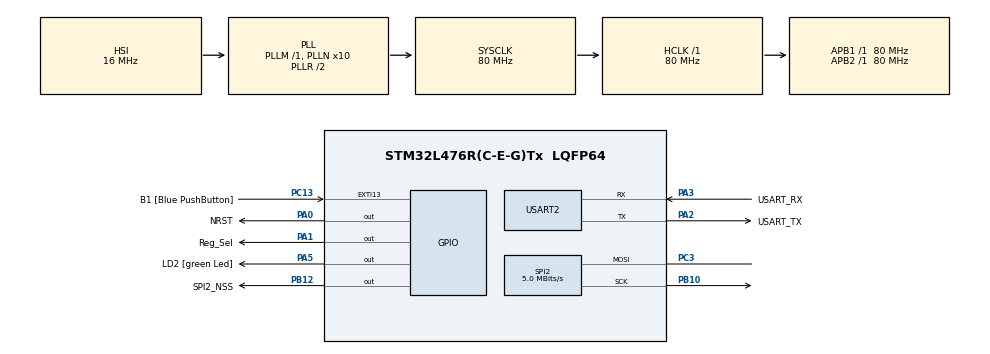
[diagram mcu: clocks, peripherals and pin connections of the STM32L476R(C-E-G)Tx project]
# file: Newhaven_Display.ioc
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Mcu.Family=STM32L4
Mcu.Name=STM32L476R(C-E-G)Tx
Mcu.Package=LQFP64
NVIC.PriorityGroup=NVIC_PRIORITYGROUP_4
PA0.GPIO_Label=NRST
PA0.GPIO_PuPd=GPIO_PULLUP
PA0.Signal=GPIO_Output
PA1.GPIO_Label=Reg_Sel
PA1.Signal=GPIO_Output
PA13\ (JTMS-SWDIO).GPIO_Label=TMS
PA13\ (JTMS-SWDIO).Mode=Serial_Wire
PA13\ (JTMS-SWDIO).Signal=SYS_JTMS-SWDIO
PA14\ (JTCK-SWCLK).GPIO_Label=TCK
PA14\ (JTCK-SWCLK).Mode=Serial_Wire
PA14\ (JTCK-SWCLK).Signal=SYS_JTCK-SWCLK
PA2.GPIO_Label=USART_TX
PA2.GPIO_Mode=GPIO_MODE_AF_PP
PA2.GPIO_PuPd=GPIO_NOPULL
PA2.GPIO_Speed=GPIO_SPEED_FREQ_VERY_HIGH
PA2.Mode=Asynchronous
PA2.Signal=USART2_TX
PA3.GPIO_Label=USART_RX
PA3.GPIO_Mode=GPIO_MODE_AF_PP
PA3.GPIO_PuPd=GPIO_NOPULL
PA3.GPIO_Speed=GPIO_SPEED_FREQ_VERY_HIGH
PA3.Mode=Asynchronous
PA3.Signal=USART2_RX
PA5.GPIO_Label=LD2 [green Led]
PA5.GPIO_ModeDefaultOutputPP=GPIO_MODE_OUTPUT_PP
PA5.GPIO_PuPd=GPIO_NOPULL
PA5.GPIO_Speed=GPIO_SPEED_FREQ_LOW
PA5.Signal=GPIO_Output
PB10.Mode=Simplex_Bidirectional_Master
PB10.Signal=SPI2_SCK
PB12.GPIO_Label=SPI2_NSS
PB12.GPIO_PuPd=GPIO_NOPULL
PB12.GPIO_Speed=GPIO_SPEED_FREQ_HIGH
PB12.Signal=GPIO_Output
PB3\ (JTDO-TRACESWO).GPIO_Label=SWO
PB3\ (JTDO-TRACESWO).Signal=SYS_JTDO-SWO
PC13.GPIO_Label=B1 [Blue PushButton]
PC13.GPIO_ModeDefaultEXTI=GPIO_MODE_IT_FALLING
PC13.GPIO_PuPd=GPIO_NOPULL
PC13.Signal=GPXTI13
PC14-OSC32_IN\ (PC14).Mode=LSE-External-Oscillator
PC14-OSC32_IN\ (PC14).Signal=RCC_OSC32_IN
PC15-OSC32_OUT\ (PC15).Mode=LSE-External-Oscillator
PC15-OSC32_OUT\ (PC15).Signal=RCC_OSC32_OUT
PC3.Mode=Simplex_Bidirectional_Master
PC3.Signal=SPI2_MOSI
PH0-OSC_IN\ (PH0).Signal=RCC_OSC_IN
PH1-OSC_OUT\ (PH1).Signal=RCC_OSC_OUT
ProjectManager.HeapSize=0x200
ProjectManager.StackSize=0x400
ProjectManager.TargetToolchain=STM32CubeIDE
RCC.ADCFreq_Value=64000000
RCC.AHBFreq_Value=80000000
RCC.APB1Freq_Value=80000000
RCC.APB1TimFreq_Value=80000000
RCC.APB2Freq_Value=80000000
RCC.APB2TimFreq_Value=80000000
RCC.CortexFreq_Value=80000000
RCC.HCLKFreq_Value=80000000
RCC.HSE_VALUE=8000000
RCC.HSI_VALUE=16000000
RCC.MSI_VALUE=4000000
RCC.PLLN=10
RCC.PLLSourceVirtual=RCC_PLLSOURCE_HSI
RCC.PREFETCH_ENABLE=1
RCC.SYSCLKFreq_VALUE=80000000
RCC.SYSCLKSource=RCC_SYSCLKSOURCE_PLLCLK
RCC.USBFreq_Value=64000000
RCC.VCOOutputFreq_Value=160000000
SPI2.BaudRatePrescaler=SPI_BAUDRATEPRESCALER_16
SPI2.CLKPhase=SPI_PHASE_2EDGE
SPI2.CLKPolarity=SPI_POLARITY_HIGH
SPI2.CalculateBaudRate=5.0 MBits/s
SPI2.DataSize=SPI_DATASIZE_8BIT
SPI2.Direction=SPI_DIRECTION_1LINE
SPI2.Mode=SPI_MODE_MASTER
SPI2.VirtualType=VM_MASTER
USART2.VirtualMode-Asynchronous=VM_ASYNC
board=NUCLEO-L476RG

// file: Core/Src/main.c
/* USER CODE BEGIN Header */
/**
  ******************************************************************************
  * @file           : main.c
  * @brief          : Main program body
  ******************************************************************************
  * @attention
  *
  * Copyright (c) 2024 STMicroelectronics.
  * All rights reserved.
  *
  * This software is licensed under terms that can be found in the LICENSE file
  * in the root directory of this software component.
  * If no LICENSE file comes with this software, it is provided AS-IS.
  *
  ******************************************************************************
  */
/* USER CODE END Header */
#include "main.h"
#include "image.h"

SPI_HandleTypeDef hspi2;

UART_HandleTypeDef huart2;

void SystemClock_Config(void);
static void MX_GPIO_Init(void);
static void MX_USART2_UART_Init(void);
static void MX_SPI2_Init(void);
/* USER CODE BEGIN PFP */
void init_LCD();
void ClearLCD(uint8_t *lcd_string);
void data_write(uint8_t);
void comm_write(uint8_t);
void DispPic(uint8_t *lcd_string);
/* USER CODE END PFP */

int main(void)
{

  /* MCU Configuration--------------------------------------------------------*/

  /* Reset of all peripherals, Initializes the Flash interface and the Systick. */
  HAL_Init();

  /* Configure the system clock */
  SystemClock_Config();

  /* Initialize all configured peripherals */
  MX_GPIO_Init();
  MX_USART2_UART_Init();
  MX_SPI2_Init();

  /* Infinite loop */
  /* USER CODE BEGIN WHILE */
  init_LCD();
  while (1)
  {
	  ClearLCD(NHD);  //clear LCD
	  HAL_Delay(1000);
	  DispPic(NHD);   //Show Image
	  HAL_Delay(3000);
	  comm_write(0xA5); //Turn all points ON
	  HAL_Delay(1000);
	  comm_write(0xA4); //Revert to Normal Display
	  HAL_Delay(1000);
    /* USER CODE END WHILE */

  }
}

void SystemClock_Config(void)
{
  RCC_OscInitTypeDef RCC_OscInitStruct = {0};
  RCC_ClkInitTypeDef RCC_ClkInitStruct = {0};

  /** Configure the main internal regulator output voltage
  */
  if (HAL_PWREx_ControlVoltageScaling(PWR_REGULATOR_VOLTAGE_SCALE1) != HAL_OK)
  {
    Error_Handler();
  }

  /** Initializes the RCC Oscillators according to the specified parameters
  * in the RCC_OscInitTypeDef structure.
  */
  RCC_OscInitStruct.OscillatorType = RCC_OSCILLATORTYPE_HSI;
  RCC_OscInitStruct.HSIState = RCC_HSI_ON;
  RCC_OscInitStruct.HSICalibrationValue = RCC_HSICALIBRATION_DEFAULT;
  RCC_OscInitStruct.PLL.PLLState = RCC_PLL_ON;
  RCC_OscInitStruct.PLL.PLLSource = RCC_PLLSOURCE_HSI;
  RCC_OscInitStruct.PLL.PLLM = 1;
  RCC_OscInitStruct.PLL.PLLN = 10;
  RCC_OscInitStruct.PLL.PLLP = RCC_PLLP_DIV7;
  RCC_OscInitStruct.PLL.PLLQ = RCC_PLLQ_DIV2;
  RCC_OscInitStruct.PLL.PLLR = RCC_PLLR_DIV2;
  if (HAL_RCC_OscConfig(&RCC_OscInitStruct) != HAL_OK)
  {
    Error_Handler();
  }

  /** Initializes the CPU, AHB and APB buses clocks
  */
  RCC_ClkInitStruct.ClockType = RCC_CLOCKTYPE_HCLK|RCC_CLOCKTYPE_SYSCLK
                              |RCC_CLOCKTYPE_PCLK1|RCC_CLOCKTYPE_PCLK2;
  RCC_ClkInitStruct.SYSCLKSource = RCC_SYSCLKSOURCE_PLLCLK;
  RCC_ClkInitStruct.AHBCLKDivider = RCC_SYSCLK_DIV1;
  RCC_ClkInitStruct.APB1CLKDivider = RCC_HCLK_DIV1;
  RCC_ClkInitStruct.APB2CLKDivider = RCC_HCLK_DIV1;

  if (HAL_RCC_ClockConfig(&RCC_ClkInitStruct, FLASH_LATENCY_4) != HAL_OK)
  {
    Error_Handler();
  }
}

static void MX_SPI2_Init(void)
{

  /* SPI2 parameter configuration*/
  hspi2.Instance = SPI2;
  hspi2.Init.Mode = SPI_MODE_MASTER;
  hspi2.Init.Direction = SPI_DIRECTION_1LINE;
  hspi2.Init.DataSize = SPI_DATASIZE_8BIT;
  hspi2.Init.CLKPolarity = SPI_POLARITY_HIGH;
  hspi2.Init.CLKPhase = SPI_PHASE_2EDGE;
  hspi2.Init.NSS = SPI_NSS_SOFT;
  hspi2.Init.BaudRatePrescaler = SPI_BAUDRATEPRESCALER_16;
  hspi2.Init.FirstBit = SPI_FIRSTBIT_MSB;
  hspi2.Init.TIMode = SPI_TIMODE_DISABLE;
  hspi2.Init.CRCCalculation = SPI_CRCCALCULATION_DISABLE;
  hspi2.Init.CRCPolynomial = 7;
  hspi2.Init.CRCLength = SPI_CRC_LENGTH_DATASIZE;
  hspi2.Init.NSSPMode = SPI_NSS_PULSE_DISABLE;
  if (HAL_SPI_Init(&hspi2) != HAL_OK)
  {
    Error_Handler();
  }

}

static void MX_USART2_UART_Init(void)
{

  huart2.Instance = USART2;
  huart2.Init.BaudRate = 115200;
  huart2.Init.WordLength = UART_WORDLENGTH_8B;
  huart2.Init.StopBits = UART_STOPBITS_1;
  huart2.Init.Parity = UART_PARITY_NONE;
  huart2.Init.Mode = UART_MODE_TX_RX;
  huart2.Init.HwFlowCtl = UART_HWCONTROL_NONE;
  huart2.Init.OverSampling = UART_OVERSAMPLING_16;
  huart2.Init.OneBitSampling = UART_ONE_BIT_SAMPLE_DISABLE;
  huart2.AdvancedInit.AdvFeatureInit = UART_ADVFEATURE_NO_INIT;
  if (HAL_UART_Init(&huart2) != HAL_OK)
  {
    Error_Handler();
  }

}

static void MX_GPIO_Init(void)
{
  GPIO_InitTypeDef GPIO_InitStruct = {0};

  /* GPIO Ports Clock Enable */
  __HAL_RCC_GPIOC_CLK_ENABLE();
  __HAL_RCC_GPIOH_CLK_ENABLE();
  __HAL_RCC_GPIOA_CLK_ENABLE();
  __HAL_RCC_GPIOB_CLK_ENABLE();

  /*Configure GPIO pin Output Level */
  HAL_GPIO_WritePin(GPIOA, NRST_Pin|Reg_Sel_Pin|LD2_Pin, GPIO_PIN_RESET);

  /*Configure GPIO pin Output Level */
  HAL_GPIO_WritePin(SPI2_NSS_GPIO_Port, SPI2_NSS_Pin, GPIO_PIN_RESET);

  /*Configure GPIO pin : B1_Pin */
  GPIO_InitStruct.Pin = B1_Pin;
  GPIO_InitStruct.Mode = GPIO_MODE_IT_FALLING;
  GPIO_InitStruct.Pull = GPIO_NOPULL;
  HAL_GPIO_Init(B1_GPIO_Port, &GPIO_InitStruct);

  /*Configure GPIO pin : NRST_Pin */
  GPIO_InitStruct.Pin = NRST_Pin;
  GPIO_InitStruct.Mode = GPIO_MODE_OUTPUT_PP;
  GPIO_InitStruct.Pull = GPIO_PULLUP;
  GPIO_InitStruct.Speed = GPIO_SPEED_FREQ_LOW;
  HAL_GPIO_Init(NRST_GPIO_Port, &GPIO_InitStruct);

  /*Configure GPIO pins : Reg_Sel_Pin LD2_Pin */
  GPIO_InitStruct.Pin = Reg_Sel_Pin|LD2_Pin;
  GPIO_InitStruct.Mode = GPIO_MODE_OUTPUT_PP;
  GPIO_InitStruct.Pull = GPIO_NOPULL;
  GPIO_InitStruct.Speed = GPIO_SPEED_FREQ_LOW;
  HAL_GPIO_Init(GPIOA, &GPIO_InitStruct);

  /*Configure GPIO pin : SPI2_NSS_Pin */
  GPIO_InitStruct.Pin = SPI2_NSS_Pin;
  GPIO_InitStruct.Mode = GPIO_MODE_OUTPUT_PP;
  GPIO_InitStruct.Pull = GPIO_NOPULL;
  GPIO_InitStruct.Speed = GPIO_SPEED_FREQ_HIGH;
  HAL_GPIO_Init(SPI2_NSS_GPIO_Port, &GPIO_InitStruct);

}

/* USER CODE BEGIN 4 */
void data_write(uint8_t x)
{
	uint8_t data = x;
	HAL_GPIO_WritePin(Reg_Sel_GPIO_Port, Reg_Sel_Pin, 1);
	HAL_GPIO_WritePin(SPI2_NSS_GPIO_Port, SPI2_NSS_Pin, 0);
	HAL_SPI_Transmit(&hspi2, &data, 1 , HAL_MAX_DELAY);
	HAL_GPIO_WritePin(SPI2_NSS_GPIO_Port, SPI2_NSS_Pin, 1);
}

void comm_write(uint8_t x)
{
	uint8_t data = x;
	HAL_GPIO_WritePin(Reg_Sel_GPIO_Port, Reg_Sel_Pin, 0);
	HAL_GPIO_WritePin(SPI2_NSS_GPIO_Port, SPI2_NSS_Pin, 0);
	HAL_SPI_Transmit(&hspi2, &data, 1 , HAL_MAX_DELAY);
	HAL_GPIO_WritePin(SPI2_NSS_GPIO_Port, SPI2_NSS_Pin, 1);
}

void init_LCD()
{
	//pulse reset pin
	HAL_GPIO_WritePin(NRST_GPIO_Port, NRST_Pin, 0);
	HAL_GPIO_WritePin(NRST_GPIO_Port, NRST_Pin, 1);
	comm_write(0xA0);	  // ADC select
	comm_write(0xAE);   // Display OFF
	comm_write(0xC8);	  // COM direction scan
	comm_write(0xA2);   // LCD bias set
	comm_write(0x2F);   // Power Control set
	comm_write(0x26);   // Resistor Ratio Set
	comm_write(0x81);   // Electronic Volume Command (set contrast) Double Btye: 1 of 2
	comm_write(0x11);	  // Electronic Volume value (contrast value) Double Byte: 2 of 2
	comm_write(0xAF);   // Display ON
}

void ClearLCD(uint8_t *lcd_string)
{
  uint16_t i,j;
  uint16_t page = 0xB0;
  comm_write(0xAE);          //Display OFF
  comm_write(0x40);         //Display start address + 0x40
  for(i=0;i<8;i++){       //64 pixel display / 8 pixels per page = 8 pages
    comm_write(page);       //send page address
    comm_write(0x10);       //column address upper 4 bits + 0x10
    comm_write(0x00);       //column address lower 4 bits + 0x00
    for(j=0;j<128;j++){     //128 columns wide
      data_write(0x00);    //write clear pixels
      lcd_string++;
      }
      page++;         //after 128 columns, go to next page
      }
  comm_write(0xAF);
}

void DispPic(uint8_t *lcd_string)
{
	uint16_t i,j;
	uint16_t page = 0xB0;
	comm_write(0xAE);          //Display OFF
	comm_write(0x40);         //Display start address + 0x40
	for(i=0;i<8;i++){       //64 pixel display / 8 pixels per page = 8 pages
	    comm_write(page);       //send page address
	    comm_write(0x10);       //column address upper 4 bits + 0x10
	    comm_write(0x00);       //column address lower 4 bits + 0x00
	    for(j=0;j<128;j++){     //128 columns wide
	      data_write(*lcd_string);    //send picture data
	      lcd_string++;
	      }
	      page++;         //after 128 columns, go to next page
	      }
	  comm_write(0xAF); //Display ON
}
/* USER CODE END 4 */

void Error_Handler(void)
{
  __disable_irq();
  while (1)
  {
  }
}
